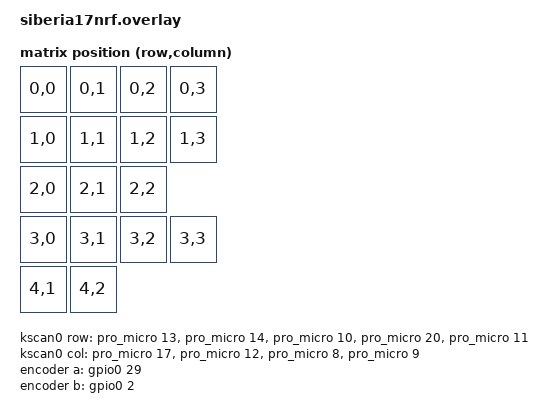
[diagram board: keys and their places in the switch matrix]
#include <dt-bindings/zmk/matrix_transform.h>

/ {
    chosen {
        zmk,kscan = &kscan0;
        zmk,matrix-transform = &default_transform;
    };
    kscan0: kscan_0 {
        compatible = "zmk,kscan-gpio-matrix";
        wakeup-source;

        diode-direction = "col2row";

         col-gpios = <&pro_micro 17  GPIO_ACTIVE_HIGH>,
                     <&pro_micro 12  GPIO_ACTIVE_HIGH>,
                     <&pro_micro 8  GPIO_ACTIVE_HIGH>,
                     <&pro_micro 9  GPIO_ACTIVE_HIGH>;
        
        row-gpios = <&pro_micro 13  (GPIO_ACTIVE_HIGH | GPIO_PULL_DOWN)>,
                    <&pro_micro 14  (GPIO_ACTIVE_HIGH | GPIO_PULL_DOWN)>,
                    <&pro_micro 10  (GPIO_ACTIVE_HIGH | GPIO_PULL_DOWN)>,
                    <&pro_micro 20  (GPIO_ACTIVE_HIGH | GPIO_PULL_DOWN)>,
                    <&pro_micro 11  (GPIO_ACTIVE_HIGH | GPIO_PULL_DOWN)>;
        
       
    };
    default_transform: matrix_transform {
        compatible = "zmk,matrix-transform";
        rows = <5>;
        columns = <4>;
        map = <
            RC(0,0) RC(0,1) RC(0,2) RC(0,3)
            RC(1,0) RC(1,1) RC(1,2) RC(1,3)
            RC(2,0) RC(2,1) RC(2,2)
            RC(3,0) RC(3,1) RC(3,2) RC(3,3)
            RC(4,1) RC(4,2)
        >;
  
       
    };

    encoder: encoder0 {
        compatible = "alps,ec11";
        a-gpios = <&gpio0 29 (GPIO_ACTIVE_HIGH | GPIO_PULL_UP)>;
        b-gpios = <&gpio0 2  (GPIO_ACTIVE_HIGH | GPIO_PULL_UP)>;
        steps = <80>;
        status = "disabled";
    };
    sensors: sensors {
        compatible = "zmk,keymap-sensors";
        sensors = <&encoder >;
        triggers-per-rotation = <20>;
    };
   
}; 

&encoder {
    status = "okay";
    };
